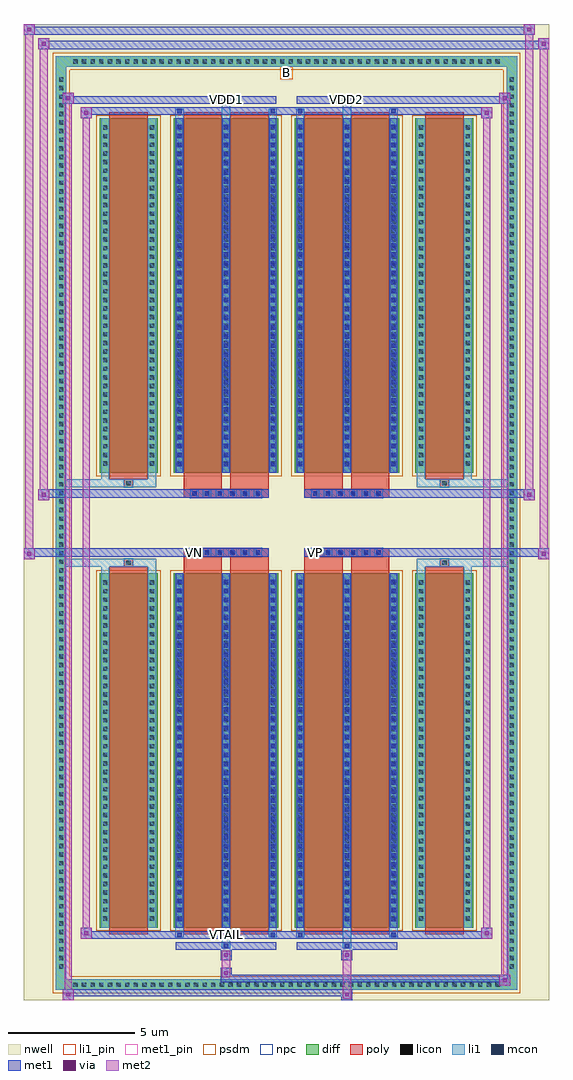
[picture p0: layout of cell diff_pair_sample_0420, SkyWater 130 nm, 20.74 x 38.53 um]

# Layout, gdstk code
import gdstk
lib = gdstk.Library(unit=1e-6, precision=5e-09)
def R(c, l, rs):  # rectangles x0, y0, x1, y1
    for r in rs: c.add(gdstk.rectangle(r[:2], r[2:], *l))
def A(c, l, x, y, w, h, nx, ny, dx, dy):  # array of equal rectangles
    R(c, l, [(x+i*dx, y+j*dy, x+i*dx+w, y+j*dy+h) for i in range(nx) for j in range(ny)])
def P(c, l, *ps):  # polygons
    for p in ps: c.add(gdstk.Polygon(p, *l))
nwell = (64, 20)
diff = (65, 20)
poly = (66, 20)
licon = (66, 44)
li1_pin = (67, 16)
li1 = (67, 20)
mcon = (67, 44)
met1_pin = (68, 16)
met1 = (68, 20)
via = (68, 44)
met2 = (69, 20)
psdm = (94, 20)
npc = (95, 20)

diff_pair_sample_0420 = lib.new_cell('diff_pair_sample_0420')
R(diff_pair_sample_0420, nwell, [(-10.37,-18.83,10.37,19.7), (-7.69,-17.02,-0.01,-0.8), (0.01,-17.02,7.69,-0.8), (-7.69,0.8,-0.01,17.02), (0.01,0.8,7.69,17.02)])
A(diff_pair_sample_0420, diff, -8.535, -18.43, 0.41, 0.41, 50, 2, 0.34, 36.45)
A(diff_pair_sample_0420, diff, -9.1, -17.715, 0.41, 0.41, 1, 104, 0, 0.34)
A(diff_pair_sample_0420, diff, 8.69, -17.715, 0.41, 0.41, 1, 104, 0, 0.34)
R(diff_pair_sample_0420, diff, [(-8.535,-18.43,8.535,-18.02), (-9.1,-17.715,-8.69,17.715), (8.69,-17.715,9.1,17.715), (-7.38,-15.975,-5.09,-1.985), (-4.45,-15.975,-0.32,-1.985), (0.32,-15.975,4.45,-1.985), (5.09,-15.975,7.38,-1.985), (-7.38,1.985,-5.09,15.975), (-4.45,1.985,-0.32,15.975), (0.32,1.985,4.45,15.975), (5.09,1.985,7.38,15.975), (-8.535,18.02,8.535,18.43)])
P(diff_pair_sample_0420, diff, [(9.1,18.43),(-9.1,18.43),(-9.1,-18.02),(-8.69,-18.02),(-8.69,18.02),(8.69,18.02),(8.69,-18.02),(-8.69,-18.02),(-9.1,-18.02),(-9.1,-18.43),(9.1,-18.43)])
A(diff_pair_sample_0420, poly, -3.8, -1.33, 0.33, 0.33, 6, 2, 0.5, 2.33)
A(diff_pair_sample_0420, poly, 0.97, -1.33, 0.33, 0.33, 6, 2, 0.5, 2.33)
R(diff_pair_sample_0420, poly, [(-6.99,-16.225,-5.48,-1.735), (-4.06,-16.225,-2.55,-1.735), (-2.22,-16.225,-0.71,-1.735), (0.71,-16.225,2.22,-1.735), (2.55,-16.225,4.06,-1.735), (5.48,-16.225,6.99,-1.735), (-6.4,-1.735,-6.07,-1.405), (-6.4,-1.735,-6.07,-1.405), (-4.06,-1.735,-2.55,-1.33), (-2.22,-1.735,-0.71,-1.33), (0.71,-1.735,2.22,-1.33), (2.55,-1.735,4.06,-1.33), (6.07,-1.735,6.4,-1.405), (6.07,-1.735,6.4,-1.405), (-4.06,-1.33,-0.71,-1), (0.71,-1.33,4.06,-1), (-4.06,1,-0.71,1.33), (0.71,1,4.06,1.33), (-4.06,1.33,-2.55,1.735), (-2.22,1.33,-0.71,1.735), (0.71,1.33,2.22,1.735), (2.55,1.33,4.06,1.735), (-6.4,1.405,-6.07,1.735), (-6.4,1.405,-6.07,1.735), (6.07,1.405,6.4,1.735), (6.07,1.405,6.4,1.735), (-6.99,1.735,-5.48,16.225), (-4.06,1.735,-2.55,16.225), (-2.22,1.735,-0.71,16.225), (0.71,1.735,2.22,16.225), (2.55,1.735,4.06,16.225), (5.48,1.735,6.99,16.225)])
A(diff_pair_sample_0420, licon, -8.415, -18.31, 0.17, 0.17, 50, 2, 0.34, 36.45)
A(diff_pair_sample_0420, licon, -8.98, -17.595, 0.17, 0.17, 1, 104, 0, 0.34)
A(diff_pair_sample_0420, licon, 8.81, -17.595, 0.17, 0.17, 1, 104, 0, 0.34)
A(diff_pair_sample_0420, licon, -7.24, -15.695, 0.17, 0.17, 1, 40, 0, 0.34)
A(diff_pair_sample_0420, licon, -5.4, -15.695, 0.17, 0.17, 1, 40, 0, 0.34)
A(diff_pair_sample_0420, licon, -4.31, -15.695, 0.17, 0.17, 3, 40, 1.84, 0.34)
A(diff_pair_sample_0420, licon, 0.46, -15.695, 0.17, 0.17, 3, 40, 1.84, 0.34)
A(diff_pair_sample_0420, licon, 5.23, -15.695, 0.17, 0.17, 1, 40, 0, 0.34)
A(diff_pair_sample_0420, licon, 7.07, -15.695, 0.17, 0.17, 1, 40, 0, 0.34)
A(diff_pair_sample_0420, licon, -3.72, -1.25, 0.17, 0.17, 6, 2, 0.5, 2.33)
A(diff_pair_sample_0420, licon, 1.05, -1.25, 0.17, 0.17, 6, 2, 0.5, 2.33)
A(diff_pair_sample_0420, licon, -7.24, 2.265, 0.17, 0.17, 1, 40, 0, 0.34)
A(diff_pair_sample_0420, licon, -5.4, 2.265, 0.17, 0.17, 1, 40, 0, 0.34)
A(diff_pair_sample_0420, licon, -4.31, 2.265, 0.17, 0.17, 3, 40, 1.84, 0.34)
A(diff_pair_sample_0420, licon, 0.46, 2.265, 0.17, 0.17, 3, 40, 1.84, 0.34)
A(diff_pair_sample_0420, licon, 5.23, 2.265, 0.17, 0.17, 1, 40, 0, 0.34)
A(diff_pair_sample_0420, licon, 7.07, 2.265, 0.17, 0.17, 1, 40, 0, 0.34)
R(diff_pair_sample_0420, licon, [(-6.32,-1.655,-6.15,-1.485), (6.15,-1.655,6.32,-1.485), (-6.32,1.485,-6.15,1.655), (6.15,1.485,6.32,1.655)])
R(diff_pair_sample_0420, li1_pin, [(-0.25,17.52,0.25,18.02)])
A(diff_pair_sample_0420, li1, -8.495, -18.39, 0.33, 0.33, 50, 2, 0.34, 36.45)
A(diff_pair_sample_0420, li1, -9.06, -17.675, 0.33, 0.33, 1, 104, 0, 0.34)
A(diff_pair_sample_0420, li1, 8.73, -17.675, 0.33, 0.33, 1, 104, 0, 0.34)
A(diff_pair_sample_0420, li1, -4.39, -15.975, 0.33, 13.99, 3, 2, 1.84, 17.96)
A(diff_pair_sample_0420, li1, 0.38, -15.975, 0.33, 13.99, 3, 2, 1.84, 17.96)
A(diff_pair_sample_0420, li1, -7.32, -15.775, 0.33, 0.33, 1, 40, 0, 0.34)
A(diff_pair_sample_0420, li1, -5.48, -15.775, 0.33, 0.33, 1, 40, 0, 0.34)
A(diff_pair_sample_0420, li1, -4.39, -15.775, 0.33, 0.33, 3, 40, 1.84, 0.34)
A(diff_pair_sample_0420, li1, 0.38, -15.775, 0.33, 0.33, 3, 40, 1.84, 0.34)
A(diff_pair_sample_0420, li1, 5.15, -15.775, 0.33, 0.33, 1, 40, 0, 0.34)
A(diff_pair_sample_0420, li1, 6.99, -15.775, 0.33, 0.33, 1, 40, 0, 0.34)
A(diff_pair_sample_0420, li1, -4.31, -15.725, 0.17, 0.17, 3, 38, 1.84, 0.36)
A(diff_pair_sample_0420, li1, -4.31, -15.725, 0.17, 13.49, 3, 2, 1.84, 17.96)
A(diff_pair_sample_0420, li1, 0.46, -15.725, 0.17, 0.17, 3, 38, 1.84, 0.36)
A(diff_pair_sample_0420, li1, 0.46, -15.725, 0.17, 13.49, 3, 2, 1.84, 17.96)
A(diff_pair_sample_0420, li1, -3.8, -1.33, 0.33, 0.33, 6, 2, 0.5, 2.33)
A(diff_pair_sample_0420, li1, 0.97, -1.33, 0.33, 0.33, 6, 2, 0.5, 2.33)
A(diff_pair_sample_0420, li1, -7.32, 2.185, 0.33, 0.33, 1, 40, 0, 0.34)
A(diff_pair_sample_0420, li1, -5.48, 2.185, 0.33, 0.33, 1, 40, 0, 0.34)
A(diff_pair_sample_0420, li1, -4.39, 2.185, 0.33, 0.33, 3, 40, 1.84, 0.34)
A(diff_pair_sample_0420, li1, 0.38, 2.185, 0.33, 0.33, 3, 40, 1.84, 0.34)
A(diff_pair_sample_0420, li1, 5.15, 2.185, 0.33, 0.33, 1, 40, 0, 0.34)
A(diff_pair_sample_0420, li1, 6.99, 2.185, 0.33, 0.33, 1, 40, 0, 0.34)
A(diff_pair_sample_0420, li1, -4.31, 2.235, 0.17, 0.17, 3, 38, 1.84, 0.36)
A(diff_pair_sample_0420, li1, 0.46, 2.235, 0.17, 0.17, 3, 38, 1.84, 0.36)
R(diff_pair_sample_0420, li1, [(-9.1,-18.43,-8.69,-18.02), (-9.1,-18.43,-8.69,-18.02), (-8.69,-18.43,8.69,-18.02), (8.69,-18.43,9.1,-18.02), (8.69,-18.43,9.1,-18.02), (-9.1,-18.02,-8.69,18.02), (8.69,-18.02,9.1,18.02), (-2.55,-16.78,-2.22,-15.975), (-2.47,-16.78,-2.3,-16.61), (2.22,-16.78,2.55,-15.975), (2.3,-16.78,2.47,-16.61), (-4.39,-16.35,-4.06,-15.975), (-4.31,-16.35,-4.14,-16.18), (-0.71,-16.35,-0.38,-15.975), (-0.63,-16.35,-0.46,-16.18), (0.38,-16.35,0.71,-15.975), (0.46,-16.35,0.63,-16.18), (4.06,-16.35,4.39,-15.975), (4.14,-16.35,4.31,-16.18), (-7.32,-15.975,-6.99,-1.985), (-5.48,-15.975,-5.15,-1.985), (5.15,-15.975,5.48,-1.985), (6.99,-15.975,7.32,-1.985), (-7.32,-1.985,-6.99,-1.405), (-5.48,-1.985,-5.15,-1.405), (5.15,-1.985,5.48,-1.405), (6.99,-1.985,7.32,-1.405), (-9.1,-1.735,-6.4,-1.405), (-7.32,-1.735,-6.4,-1.405), (-6.4,-1.735,-6.07,-1.405), (-6.07,-1.735,-5.15,-1.405), (5.15,-1.735,6.07,-1.405), (6.07,-1.735,6.4,-1.405), (6.07,-1.735,9.1,-1.405), (6.4,-1.735,7.32,-1.405), (-9.1,1.405,-6.4,1.735), (-7.32,1.405,-6.4,1.735), (-7.32,1.405,-6.99,1.985), (-6.4,1.405,-6.07,1.735), (-6.07,1.405,-5.15,1.735), (-5.48,1.405,-5.15,1.985), (5.15,1.405,6.07,1.735), (5.15,1.405,5.48,1.985), (6.07,1.405,6.4,1.735), (6.07,1.405,9.1,1.735), (6.4,1.405,7.32,1.735), (6.99,1.405,7.32,1.985), (-7.32,1.985,-6.99,15.975), (-5.48,1.985,-5.15,15.975), (5.15,1.985,5.48,15.975), (6.99,1.985,7.32,15.975), (-4.39,15.975,-4.06,16.35), (-2.55,15.975,-2.22,16.78), (-0.71,15.975,-0.38,16.35), (0.38,15.975,0.71,16.35), (2.22,15.975,2.55,16.78), (4.06,15.975,4.39,16.35), (-4.31,16.18,-4.14,16.35), (-0.63,16.18,-0.46,16.35), (0.46,16.18,0.63,16.35), (4.14,16.18,4.31,16.35), (-2.47,16.61,-2.3,16.78), (2.3,16.61,2.47,16.78), (-9.1,18.02,-8.69,18.43), (-9.1,18.02,-8.69,18.43), (-8.69,18.02,8.69,18.43), (8.69,18.02,9.1,18.43), (8.69,18.02,9.1,18.43)])
A(diff_pair_sample_0420, mcon, -4.31, -15.725, 0.17, 0.17, 3, 38, 1.84, 0.36)
A(diff_pair_sample_0420, mcon, 0.46, -15.725, 0.17, 0.17, 3, 38, 1.84, 0.36)
A(diff_pair_sample_0420, mcon, -3.72, -1.25, 0.17, 0.17, 6, 2, 0.5, 2.33)
A(diff_pair_sample_0420, mcon, 1.05, -1.25, 0.17, 0.17, 6, 2, 0.5, 2.33)
A(diff_pair_sample_0420, mcon, -4.31, 2.235, 0.17, 0.17, 3, 38, 1.84, 0.36)
A(diff_pair_sample_0420, mcon, 0.46, 2.235, 0.17, 0.17, 3, 38, 1.84, 0.36)
R(diff_pair_sample_0420, mcon, [(-2.47,-16.78,-2.3,-16.61), (2.3,-16.78,2.47,-16.61), (-4.31,-16.35,-4.14,-16.18), (-0.63,-16.35,-0.46,-16.18), (0.46,-16.35,0.63,-16.18), (4.14,-16.35,4.31,-16.18), (-4.31,16.18,-4.14,16.35), (-0.63,16.18,-0.46,16.35), (0.46,16.18,0.63,16.35), (4.14,16.18,4.31,16.35), (-2.47,16.61,-2.3,16.78), (2.3,16.61,2.47,16.78)])
R(diff_pair_sample_0420, met1_pin, [(-2.52,-16.39,-2.25,-16.12), (-3.77,-1.29,-3.5,-1.02), (1,-1.29,1.27,-1.02), (-2.52,16.57,-2.25,16.84), (2.25,16.57,2.52,16.84)])
A(diff_pair_sample_0420, met1, -4.37, -15.975, 0.29, 13.99, 3, 2, 1.84, 17.96)
A(diff_pair_sample_0420, met1, 0.4, -15.975, 0.29, 13.99, 3, 2, 1.84, 17.96)
A(diff_pair_sample_0420, met1, -4.37, -15.785, 0.29, 0.29, 3, 38, 1.84, 0.36)
A(diff_pair_sample_0420, met1, 0.4, -15.785, 0.29, 0.29, 3, 38, 1.84, 0.36)
A(diff_pair_sample_0420, met1, -3.78, -1.31, 0.29, 0.29, 6, 2, 0.5, 2.33)
A(diff_pair_sample_0420, met1, 0.99, -1.31, 0.29, 0.29, 6, 2, 0.5, 2.33)
A(diff_pair_sample_0420, met1, -4.37, 2.175, 0.29, 0.29, 3, 38, 1.84, 0.36)
A(diff_pair_sample_0420, met1, 0.4, 2.175, 0.29, 0.29, 3, 38, 1.84, 0.36)
R(diff_pair_sample_0420, met1, [(-8.83,-18.83,-8.4,-18.4), (2.17,-18.83,2.6,-18.4), (-8.83,-18.69,2.6,-18.4), (8.4,-18.26,8.83,-17.83), (-2.6,-18.12,8.83,-17.83), (-2.6,-17.98,-2.17,-17.55), (-2.6,-17.27,-2.17,-16.84), (2.17,-17.27,2.6,-16.84), (-4.37,-16.84,-0.4,-16.55), (-2.53,-16.84,-2.24,-16.55), (0.4,-16.84,4.37,-16.55), (2.24,-16.84,2.53,-16.55), (-8.12,-16.41,-7.69,-15.98), (-8.12,-16.41,-4.37,-16.12), (-4.37,-16.41,-4.08,-16.12), (-4.37,-16.41,-0.4,-16.12), (-0.69,-16.41,-0.4,-16.12), (-0.4,-16.41,0.4,-16.12), (0.4,-16.41,0.69,-16.12), (0.4,-16.41,4.37,-16.12), (4.08,-16.41,4.37,-16.12), (4.37,-16.41,8.12,-16.12), (7.69,-16.41,8.12,-15.98), (-10.37,-1.43,-9.94,-1), (9.94,-1.43,10.37,-1), (-10.37,-1.33,-0.71,-1), (-4.06,-1.33,-0.71,-1), (0.71,-1.33,4.06,-1), (0.71,-1.33,10.37,-1), (-9.8,0.9,-9.37,1.33), (9.37,0.9,9.8,1.33), (-9.8,1,-4.06,1.33), (-4.06,1,-0.71,1.33), (0.71,1,4.06,1.33), (4.06,1,9.8,1.33), (-8.12,15.98,-7.69,16.41), (7.69,15.98,8.12,16.41), (-8.12,16.12,-4.37,16.41), (-4.37,16.12,-4.08,16.41), (-4.37,16.12,-0.4,16.41), (-0.69,16.12,-0.4,16.41), (-0.4,16.12,0.4,16.41), (0.4,16.12,0.69,16.41), (0.4,16.12,4.37,16.41), (4.08,16.12,4.37,16.41), (4.37,16.12,8.12,16.41), (-8.83,16.55,-8.4,16.98), (-8.83,16.55,-4.37,16.84), (-4.37,16.55,-0.4,16.84), (-2.53,16.55,-2.24,16.84), (0.4,16.55,4.37,16.84), (2.24,16.55,2.53,16.84), (4.37,16.55,8.83,16.84), (8.4,16.55,8.83,16.98), (-9.8,18.7,-9.37,19.13), (-9.8,18.7,-7.69,19.03), (-7.69,18.7,7.69,19.03), (7.69,18.7,10.37,19.03), (9.94,18.7,10.37,19.13), (-10.37,19.27,-9.94,19.7), (-10.37,19.27,-7.69,19.6), (-7.69,19.27,7.69,19.6), (7.69,19.27,9.8,19.6), (9.37,19.27,9.8,19.7)])
R(diff_pair_sample_0420, via, [(-8.69,-18.69,-8.54,-18.54), (2.31,-18.69,2.46,-18.54), (8.54,-18.12,8.69,-17.97), (-2.46,-17.84,-2.31,-17.69), (-2.46,-17.13,-2.31,-16.98), (2.31,-17.13,2.46,-16.98), (-7.98,-16.27,-7.83,-16.12), (7.83,-16.27,7.98,-16.12), (-10.23,-1.29,-10.08,-1.14), (10.08,-1.29,10.23,-1.14), (-9.66,1.04,-9.51,1.19), (9.51,1.04,9.66,1.19), (-7.98,16.12,-7.83,16.27), (7.83,16.12,7.98,16.27), (-8.69,16.69,-8.54,16.84), (8.54,16.69,8.69,16.84), (-9.66,18.84,-9.51,18.99), (10.08,18.84,10.23,18.99), (-10.23,19.41,-10.08,19.56), (9.51,19.41,9.66,19.56)])
R(diff_pair_sample_0420, met2, [(-8.83,-18.83,-8.4,-18.4), (-8.76,-18.83,-8.47,16.98), (-8.47,-18.83,-8.4,-18.4), (-8.78,-18.78,-8.45,-18.45), (2.22,-18.78,2.55,-18.45), (2.22,-18.45,2.55,-17.22), (8.4,-18.26,8.83,-17.83), (8.47,-18.26,8.76,16.98), (8.76,-18.26,8.83,-17.83), (8.45,-18.21,8.78,-17.88), (-2.55,-17.93,-2.22,-17.6), (-2.55,-17.6,-2.22,-17.22), (-2.55,-17.22,-2.22,-16.89), (2.22,-17.22,2.55,-16.89), (-8.12,-16.41,-7.69,-15.98), (-8.05,-16.41,-7.76,16.41), (-7.76,-16.41,-7.69,-15.98), (7.69,-16.41,8.12,-15.98), (7.76,-16.41,8.05,16.41), (8.05,-16.41,8.12,-15.98), (-8.07,-16.36,-7.74,-16.03), (7.74,-16.36,8.07,-16.03), (-10.37,-1.43,-9.94,-1), (-10.32,-1.43,-9.99,19.7), (-9.99,-1.43,-9.94,-1), (9.94,-1.43,10.37,-1), (9.99,-1.43,10.32,19.13), (10.32,-1.43,10.37,-1), (-10.32,-1.38,-9.99,-1.05), (9.99,-1.38,10.32,-1.05), (-9.8,0.9,-9.37,1.33), (-9.75,0.9,-9.42,19.13), (-9.42,0.9,-9.37,1.33), (9.37,0.9,9.8,1.33), (9.42,0.9,9.75,19.7), (9.75,0.9,9.8,1.33), (-9.75,0.95,-9.42,1.28), (9.42,0.95,9.75,1.28), (-8.12,15.98,-7.69,16.41), (-7.76,15.98,-7.69,16.41), (7.69,15.98,8.12,16.41), (8.05,15.98,8.12,16.41), (-8.07,16.03,-7.74,16.36), (7.74,16.03,8.07,16.36), (-8.83,16.55,-8.4,16.98), (-8.47,16.55,-8.4,16.98), (8.4,16.55,8.83,16.98), (8.76,16.55,8.83,16.98), (-8.78,16.6,-8.45,16.93), (8.45,16.6,8.78,16.93), (-9.8,18.7,-9.37,19.13), (-9.42,18.7,-9.37,19.13), (9.94,18.7,10.37,19.13), (10.32,18.7,10.37,19.13), (-9.75,18.75,-9.42,19.08), (9.99,18.75,10.32,19.08), (-10.37,19.27,-9.94,19.7), (-9.99,19.27,-9.94,19.7), (9.37,19.27,9.8,19.7), (9.75,19.27,9.8,19.7), (-10.32,19.32,-9.99,19.65), (9.42,19.32,9.75,19.65)])
R(diff_pair_sample_0420, psdm, [(-7.51,-16.105,-4.96,-1.855), (-4.58,-16.105,-0.19,-1.855), (0.19,-16.105,4.58,-1.855), (4.96,-16.105,7.51,-1.855), (-7.51,1.855,-4.96,16.105), (-4.58,1.855,-0.19,16.105), (0.19,1.855,4.58,16.105), (4.96,1.855,7.51,16.105)])
P(diff_pair_sample_0420, psdm, [(9.23,18.56),(-9.23,18.56),(-9.23,-17.89),(-8.56,-17.89),(-8.56,17.89),(8.56,17.89),(8.56,-17.89),(-8.56,-17.89),(-9.23,-17.89),(-9.23,-18.56),(9.23,-18.56)])
A(diff_pair_sample_0420, npc, -3.82, -1.35, 0.37, 0.37, 6, 2, 0.5, 2.33)
A(diff_pair_sample_0420, npc, 0.95, -1.35, 0.37, 0.37, 6, 2, 0.5, 2.33)
R(diff_pair_sample_0420, npc, [(-6.42,-1.755,-6.05,-1.385), (6.05,-1.755,6.42,-1.385), (-3.82,-1.35,-2.95,-0.98), (-3.82,-1.35,-2.95,-0.98), (-3.32,-1.35,-2.45,-0.98), (-3.32,-1.35,-2.45,-0.98), (-2.82,-1.35,-1.95,-0.98), (-2.82,-1.35,-1.95,-0.98), (-2.32,-1.35,-1.45,-0.98), (-2.32,-1.35,-1.45,-0.98), (-1.82,-1.35,-0.95,-0.98), (-1.82,-1.35,-0.95,-0.98), (0.95,-1.35,1.82,-0.98), (0.95,-1.35,1.82,-0.98), (1.45,-1.35,2.32,-0.98), (1.45,-1.35,2.32,-0.98), (1.95,-1.35,2.82,-0.98), (1.95,-1.35,2.82,-0.98), (2.45,-1.35,3.32,-0.98), (2.45,-1.35,3.32,-0.98), (2.95,-1.35,3.82,-0.98), (2.95,-1.35,3.82,-0.98), (-3.82,0.98,-2.95,1.35), (-3.82,0.98,-2.95,1.35), (-3.32,0.98,-2.45,1.35), (-3.32,0.98,-2.45,1.35), (-2.82,0.98,-1.95,1.35), (-2.82,0.98,-1.95,1.35), (-2.32,0.98,-1.45,1.35), (-2.32,0.98,-1.45,1.35), (-1.82,0.98,-0.95,1.35), (-1.82,0.98,-0.95,1.35), (0.95,0.98,1.82,1.35), (0.95,0.98,1.82,1.35), (1.45,0.98,2.32,1.35), (1.45,0.98,2.32,1.35), (1.95,0.98,2.82,1.35), (1.95,0.98,2.82,1.35), (2.45,0.98,3.32,1.35), (2.45,0.98,3.32,1.35), (2.95,0.98,3.82,1.35), (2.95,0.98,3.82,1.35), (-6.42,1.385,-6.05,1.755), (6.05,1.385,6.42,1.755)])
diff_pair_sample_0420.add(gdstk.Label('VTAIL', (-2.385,-16.255), layer=68, texttype=5))
diff_pair_sample_0420.add(gdstk.Label('VN', (-3.635,-1.155), layer=68, texttype=5))
diff_pair_sample_0420.add(gdstk.Label('VP', (1.135,-1.155), layer=68, texttype=5))
diff_pair_sample_0420.add(gdstk.Label('B', (0,17.77), layer=67, texttype=5))
diff_pair_sample_0420.add(gdstk.Label('VDD2', (2.385,16.705), layer=68, texttype=5))
diff_pair_sample_0420.add(gdstk.Label('VDD1', (-2.385,16.705), layer=68, texttype=5))

lib.write_gds('diff_pair_sample_0420.gds')
